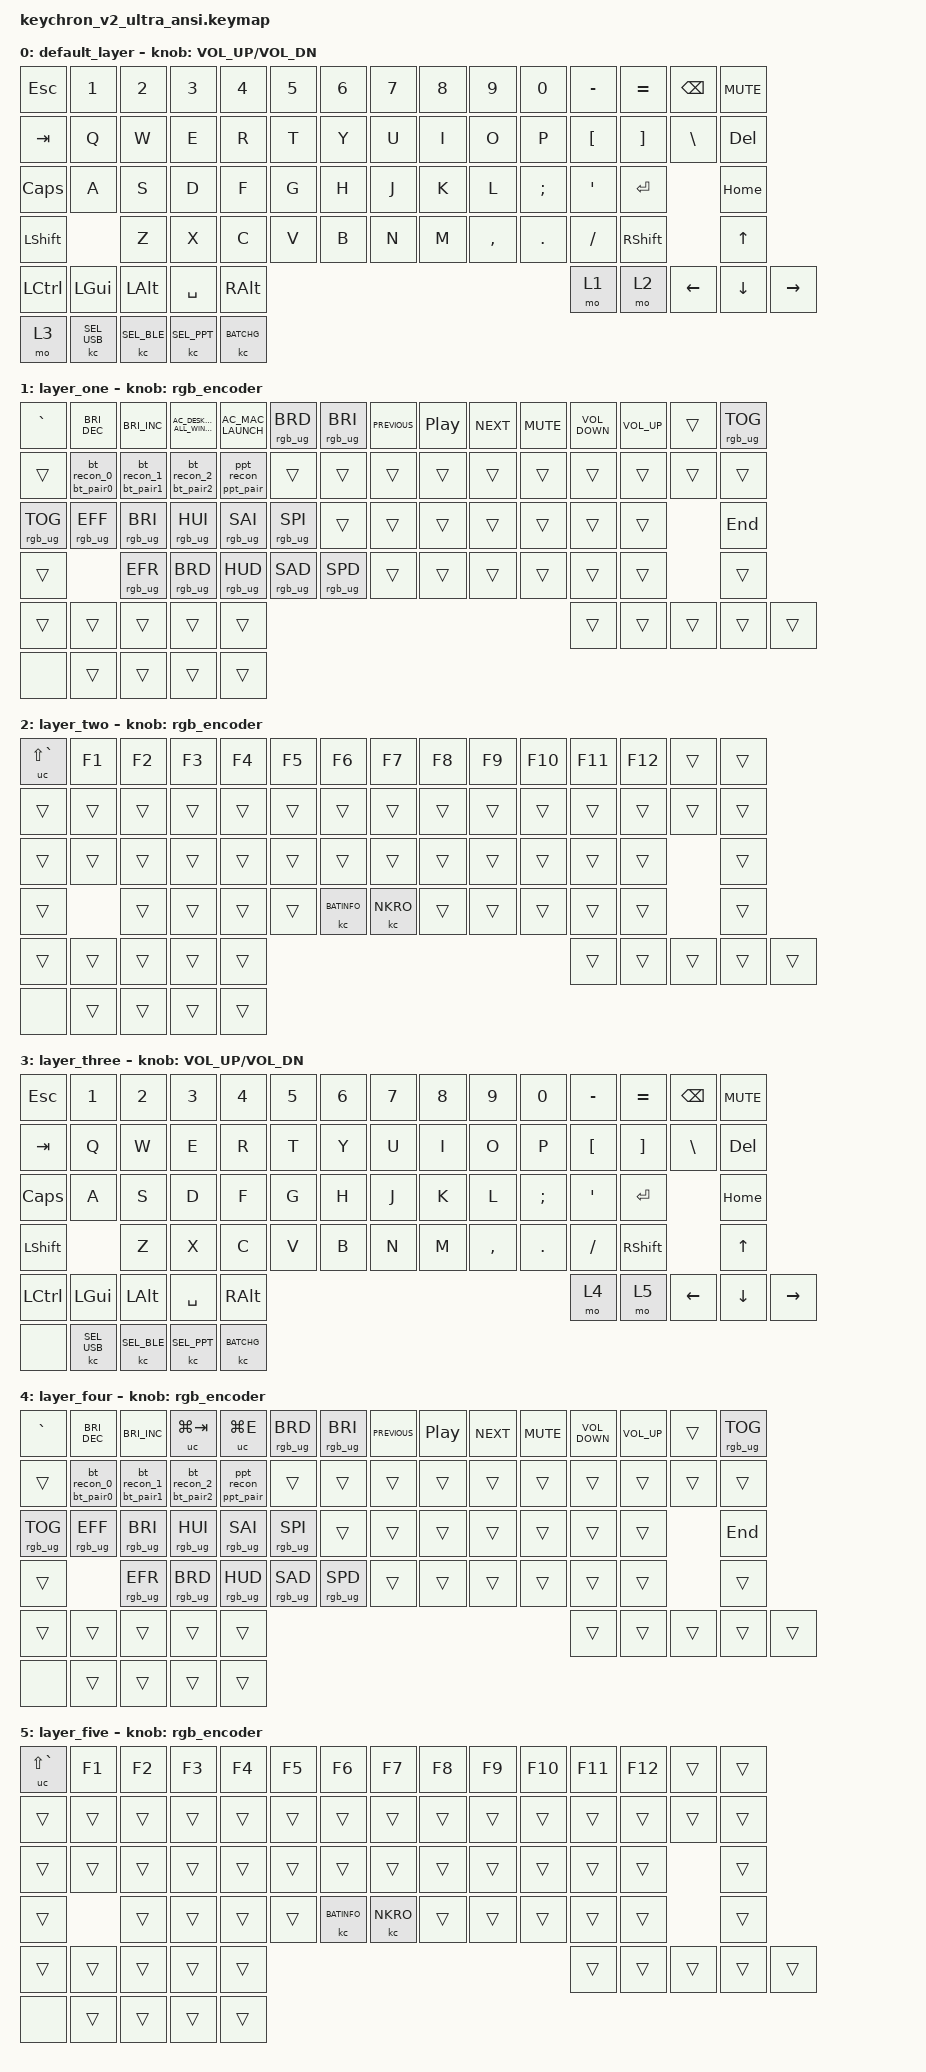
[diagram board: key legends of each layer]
/*
 * Copyright (c) 2023 The ZMK Contributors
 *
 * SPDX-License-Identifier: MIT
 */

#include <behaviors.dtsi>
#include <dt-bindings/zmk/bt.h>
#include <dt-bindings/zmk/keys.h>
#include <dt-bindings/zmk/rgb.h>
#include <dt-bindings/zmk/bt.h>
#include <dt-bindings/zmk/outputs.h>
#include <dt-bindings/zmk/keychron.h>


/ {
    behaviors {
        rgb_encoder: rgb_encoder {
            compatible = "zmk,behavior-sensor-rotate";
            #sensor-binding-cells = <0>;
            bindings = <&rgb_ug RGB_BRI>, <&rgb_ug RGB_BRD>;
            tap-ms =<20>;
        };
        mouse_encoder: mouse_encoder {
            compatible = "zmk,behavior-sensor-rotate-var";
            #sensor-binding-cells = <2>;
            bindings = <&mkp>, <&mkp>;
            tap-ms =<20>;
        };
    };
    macro1:zm_ma{
        compatible = "zmk,behavior-macro-one-param";
        #binding-cells = <1>;
        bindings=<&kp 0x770000>;
    };
    lm: layer_mod {
        compatible = "zmk,behavior-macro-two-param";
        wait-ms = <0>;
        tap-ms = <0>;
        #binding-cells = <2>;
        bindings
            = <&macro_param_1to1>
            , <&macro_press &mo 0>
            , <&macro_param_2to1>
            , <&macro_press &kp 0>
            , <&macro_pause_for_release>
            , <&macro_param_2to1>
            , <&macro_release &kp 0>
            , <&macro_param_1to1>
            , <&macro_release &mo 0>
            ;
    };
    td1:tapd_layer{
        compatible = "zmk,behavior-tap-dance1";
        #binding-cells = <1>;
        tapping-term-ms = <350>;
        bindings =<&mo 0>,<&mo 0>,<&mo 0>,<&mo 0>,<&to 0>;
    };

    kc_lp:l1{
        compatible = "zmk,behavior-hold-tap";
        #binding-cells = <2>;
        flavor = "tap-preferred";
        tapping-term-ms = <3000>;  // delay amount in ms
        bindings = <&kc>,<&none>;
    };

    long_press_bootloader:lp_bootloader{
        compatible = "zmk,behavior-hold-tap";
        #binding-cells = <2>;
        flavor = "tap-preferred";
        tapping-term-ms = <3000>;  // delay amount in ms
        bindings = <&bootloader>, <&none>;
    };
    // kc_nkro:kc_nkro{
    //     compatible = "zmk,behavior-hold-tap";
    //     #binding-cells = <2>;
    //     flavor = "tap-preferred";
    //     tapping-term-ms = <2000>;  // delay amount in ms
    //     bindings = <&kc NKRO>, <&none>;
    // };
    ZMK_MACRO(bt_pair0, bindings = <&kc BT_PAIR 0>;)
    ZMK_MACRO(bt_pair1, bindings = <&kc BT_PAIR 1>;)
    ZMK_MACRO(bt_pair2, bindings = <&kc BT_PAIR 2>;)
    ZMK_MACRO(ppt_pair, bindings = <&kc PPT_PAIR 0>;)
    ZMK_MACRO(bt_recon_0, bindings = <&kc BT_SEL 0>;)
    ZMK_MACRO(bt_recon_1, bindings = <&kc BT_SEL 1>;)
    ZMK_MACRO(bt_recon_2, bindings = <&kc BT_SEL 2>;)
    ZMK_MACRO(ppt_recon, bindings = <&kc PPT_SEL 0>;)



    bt_pair_0: bt_pair_0 {
        compatible = "zmk,behavior-hold-tap";

        #binding-cells = <2>;
        flavor = "tap-preferred";
        tapping-term-ms = <3000>;  // delay amount in ms
        bindings = <&bt_pair0>, <&bt_recon_0>;
    };
    bt_pair_1: bt_pair_1 {
        compatible = "zmk,behavior-hold-tap";

        #binding-cells = <2>;
        flavor = "tap-preferred";
        tapping-term-ms = <3000>;  // delay amount in ms
        bindings = <&bt_pair1>, <&bt_recon_1>;
    };
    bt_pair_2: bt_pair_2 {
        compatible = "zmk,behavior-hold-tap";

        #binding-cells = <2>;
        flavor = "tap-preferred";
        tapping-term-ms = <3000>;  // delay amount in ms
        bindings = <&bt_pair2>, <&bt_recon_2>;
    };
    ppt_pair_0: ppt_pair_0 {
        compatible = "zmk,behavior-hold-tap";

        #binding-cells = <2>;
        flavor = "tap-preferred";
        tapping-term-ms = <3000>;  // delay amount in ms
        bindings = <&ppt_pair>, <&ppt_recon>;
    };
    uc:user_custom {
        compatible = "zmk,behavior-key-press";
        #binding-cells =<1>;
    };
    combos {
        compatible = "zmk,combos";
        combo_a {
                timeout-ms = <1000>;
                layers =< 2 5>;
                key-positions = <37 45>; //fn+j+z
                bindings = <&kc_lp RCV>;
        };
        // combo_b {
        //         timeout-ms = <1000>;
        //         layers =< 2 5>;
        //         key-positions = <49>; //fn+b
        //         bindings = <&kc BATINFO>;
        // };
        // combo_c {
        //         timeout-ms = <1000>;
        //         layers =< 2 5>;
        //         key-positions = <58 81>; //fn+home+right
        //         bindings = <&kc_lp RGBTEST>;
        // };
         combo_t0 {
            timeout-ms = <10 >;
            layers =<4>;
            key-positions = <120>;
            bindings = <&to 3 >;
        };
        combo_t1 {
            timeout-ms = <10 >;
            layers =<4>;

            key-positions = <120>;
            bindings = <&tog 3 >;
        };
        combo_t2 {
            timeout-ms = <10 >;
            layers =<4>;
            key-positions = <120>;
            bindings = <&sl 3 >;
        };
        combo_t3 {
            timeout-ms = <10 >;
            layers =<4>;
            key-positions = <120>;
            bindings = <&lt 3 SPACE>;
        };
        combo_t4 {
            timeout-ms = <10 >;
            layers =<4>;
            key-positions = <120>;
            bindings = <&sk LSHIFT>;
        };
        combo_t5 {
            timeout-ms = <10 >;
            layers =<4>;
            key-positions = <120>;
            bindings = <&mt LSHIFT SPACE>;
        };
        combo_t6 {
            timeout-ms = <10 >;
            layers =<4>;
            key-positions = <120>;
            bindings = <&gresc>;
        };
        //  combo_t7 {
        //     timeout-ms = <10 >;
        //     layers =<4>;
        //     key-positions = <120>;
        //     bindings = <&mkp 0>;
        // };
    };
    keymap {
        compatible = "zmk,keymap";
        //mac
        default_layer {
        bindings = <
        &kp ESC     &kp N1                 &kp N2                   &kp N3                              &kp N4                  &kp N5              &kp N6          &kp N7          &kp N8              &kp N9       &kp N0     &kp MINUS            &kp EQUAL           &kp BSPC                        &kp C_MUTE
        &kp TAB     &kp Q                  &kp W                    &kp E                               &kp R                   &kp T               &kp Y           &kp U           &kp I               &kp O        &kp P      &kp LBKT             &kp RBKT            &kp BSLH                        &kp DEL
        &kp CLCK    &kp A                  &kp S                    &kp D                               &kp F                   &kp G               &kp H           &kp J           &kp K               &kp L        &kp SEMI   &kp SQT              &kp RET                                             &kp HOME
        &kp LSHFT                          &kp Z                    &kp X                               &kp C                   &kp V               &kp B           &kp N           &kp M               &kp COMMA    &kp DOT    &kp FSLH             &kp RSHFT                            &kp UP
        &kp LCTRL   &kp LGUI               &kp LALT                                                                             &kp SPACE                                                                            &kp RALT   &mo 1                &mo 2               &kp LEFT         &kp DOWN       &kp RIGHT
        //keychron control
        &mo 3       &kc SEL_USB            &kc SEL_BLE             &kc SEL_PPT        &kc BATCHG
            >;
            sensor-bindings = <&inc_dec_kp C_VOL_UP C_VOL_DN>;
        };

        //mac fn1 layer
        layer_one {
        bindings = <
        // `                            //f1                        //f2                        //f3                                //f4                        //f5            //f6                //f7            //f8                //f9        //f10           //f11                         //f12
        &kp GRAVE                       &kp C_BRIGHTNESS_DEC        &kp C_BRIGHTNESS_INC        &kp C_AC_DESKTOP_SHOW_ALL_WINDOWS   &kp  C_AC_MAC_LAUNCH    &rgb_ug RGB_BRD     &rgb_ug RGB_BRI     &kp C_PREVIOUS  &kp C_PLAY_PAUSE    &kp C_NEXT  &kp C_MUTE  &kp C_VOLUME_DOWN           &kp C_VOLUME_UP      &trans                          &rgb_ug RGB_TOG
        &trans                          &bt_pair_0 0 0              &bt_pair_1 0 0              &bt_pair_2 0 0                      &ppt_pair_0 0 0         &trans              &trans              &trans          &trans              &trans      &trans      &trans                      &trans               &trans                          &trans
        &rgb_ug RGB_TOG                 &rgb_ug RGB_EFF             &rgb_ug RGB_BRI             &rgb_ug RGB_HUI                     &rgb_ug RGB_SAI         &rgb_ug RGB_SPI     &trans              &trans          &trans              &trans      &trans      &trans                      &trans                                               &kp END
        &trans                                                      &rgb_ug RGB_EFR             &rgb_ug RGB_BRD                     &rgb_ug RGB_HUD         &rgb_ug RGB_SAD     &rgb_ug RGB_SPD     &trans          &trans              &trans      &trans      &trans                      &trans                                  &trans
        &trans                          &trans                      &trans                                                                                  &trans                                                                                  &trans      &trans                      &trans               &trans             &trans       &trans
        //
        &none                           &trans                      &trans                      &trans                             &trans
        >;
        sensor-bindings = <&rgb_encoder>;
        };

        //mac fn2 layer
        layer_two {
        bindings = <
        // `                            //f1                        //f2                        //f3                                //f4                        //f5            //f6                //f7            //f8                //f9        //f10       //f11                         //f12
        &uc LS(GRAVE)                   &kp F1                      &kp F2                      &kp F3                              &kp F4                  &kp F5              &kp F6              &kp F7          &kp F8              &kp F9      &kp F10     &kp F11                     &kp F12              &trans                          &trans
        &trans                          &trans                      &trans                      &trans                              &trans                  &trans              &trans              &trans          &trans              &trans      &trans      &trans                      &trans               &trans                          &trans
        &trans                          &trans                      &trans                      &trans                              &trans                  &trans              &trans              &trans          &trans              &trans      &trans      &trans                      &trans                                               &trans
        &trans                                                      &trans                      &trans                              &trans                  &trans              &kc BATINFO         &kc NKRO        &trans              &trans      &trans      &trans                      &trans                                  &trans
        &trans                          &trans                      &trans                                                                                  &trans                                                                                  &trans      &trans                      &trans               &trans             &trans       &trans
        //
        &none                           &trans                      &trans                      &trans                             &trans
        >;
        sensor-bindings = <&rgb_encoder>;
        };

        //win
        layer_three {
        bindings = <
        &kp ESC     &kp N1                 &kp N2                   &kp N3                              &kp N4                  &kp N5              &kp N6          &kp N7          &kp N8              &kp N9       &kp N0     &kp MINUS            &kp EQUAL           &kp BSPC                        &kp C_MUTE
        &kp TAB     &kp Q                  &kp W                    &kp E                               &kp R                   &kp T               &kp Y           &kp U           &kp I               &kp O        &kp P      &kp LBKT             &kp RBKT            &kp BSLH                        &kp DEL
        &kp CLCK    &kp A                  &kp S                    &kp D                               &kp F                   &kp G               &kp H           &kp J           &kp K               &kp L        &kp SEMI   &kp SQT              &kp RET                                             &kp HOME
        &kp LSHFT                          &kp Z                    &kp X                               &kp C                   &kp V               &kp B           &kp N           &kp M               &kp COMMA    &kp DOT    &kp FSLH             &kp RSHFT                            &kp UP
        &kp LCTRL   &kp LGUI               &kp LALT                                                                             &kp SPACE                                                                            &kp RALT   &mo 4                &mo 5               &kp LEFT         &kp DOWN       &kp RIGHT
        //keychron control
        &none       &kc SEL_USB            &kc SEL_BLE              &kc SEL_PPT         &kc BATCHG
        >;
        sensor-bindings = <&inc_dec_kp C_VOL_UP C_VOL_DN>;
        };

        //win fn1 layer
        layer_four {
        bindings = <
        // `                            //f1                        //f2                        //f3                                //f4                        //f5            //f6                //f7            //f8                //f9        //f10           //f11                         //f12
        &kp GRAVE                       &kp C_BRIGHTNESS_DEC        &kp C_BRIGHTNESS_INC        &uc LG(TAB)                         &uc LG(E)               &rgb_ug RGB_BRD     &rgb_ug RGB_BRI     &kp C_PREVIOUS  &kp C_PLAY_PAUSE    &kp C_NEXT  &kp C_MUTE  &kp C_VOLUME_DOWN           &kp C_VOLUME_UP      &trans                          &rgb_ug RGB_TOG
        &trans                          &bt_pair_0 0 0              &bt_pair_1 0 0              &bt_pair_2 0 0                      &ppt_pair_0 0 0         &trans              &trans              &trans          &trans              &trans      &trans      &trans                      &trans               &trans                          &trans
        &rgb_ug RGB_TOG                 &rgb_ug RGB_EFF             &rgb_ug RGB_BRI             &rgb_ug RGB_HUI                     &rgb_ug RGB_SAI         &rgb_ug RGB_SPI     &trans              &trans          &trans              &trans      &trans      &trans                      &trans                                               &kp END
        &trans                                                      &rgb_ug RGB_EFR             &rgb_ug RGB_BRD                     &rgb_ug RGB_HUD         &rgb_ug RGB_SAD     &rgb_ug RGB_SPD     &trans          &trans              &trans      &trans      &trans                      &trans                                  &trans
        &trans                          &trans                      &trans                                                                                  &trans                                                                                  &trans      &trans                      &trans               &trans             &trans       &trans
        //
        &none                           &trans                      &trans                      &trans                             &trans
        >;
        sensor-bindings = <&rgb_encoder>;
        };

        //win fn2 layer
        layer_five {
        bindings = <
        // `                            //f1                        //f2                        //f3                                //f4                        //f5            //f6                //f7            //f8                //f9        //f10       //f11                         //f12
        &uc LS(GRAVE)                   &kp F1                      &kp F2                      &kp F3                              &kp F4                  &kp F5              &kp F6              &kp F7          &kp F8              &kp F9      &kp F10     &kp F11                     &kp F12              &trans                          &trans
        &trans                          &trans                      &trans                      &trans                              &trans                  &trans              &trans              &trans          &trans              &trans      &trans      &trans                      &trans               &trans                          &trans
        &trans                          &trans                      &trans                      &trans                              &trans                  &trans              &trans              &trans          &trans              &trans      &trans      &trans                      &trans                                               &trans
        &trans                                                      &trans                      &trans                              &trans                  &trans              &kc BATINFO         &kc NKRO        &trans              &trans      &trans      &trans                      &trans                                  &trans
        &trans                          &trans                      &trans                                                                                  &trans                                                                                  &trans      &trans                      &trans               &trans             &trans       &trans
        //
        &none                           &trans                      &trans                      &trans                             &trans
        >;
        sensor-bindings = <&rgb_encoder>;
        };

    };
};
&mt {
    tapping-term-ms = <400>;
};
&inc_dec_kp {
    tap-ms=<20>;
};
